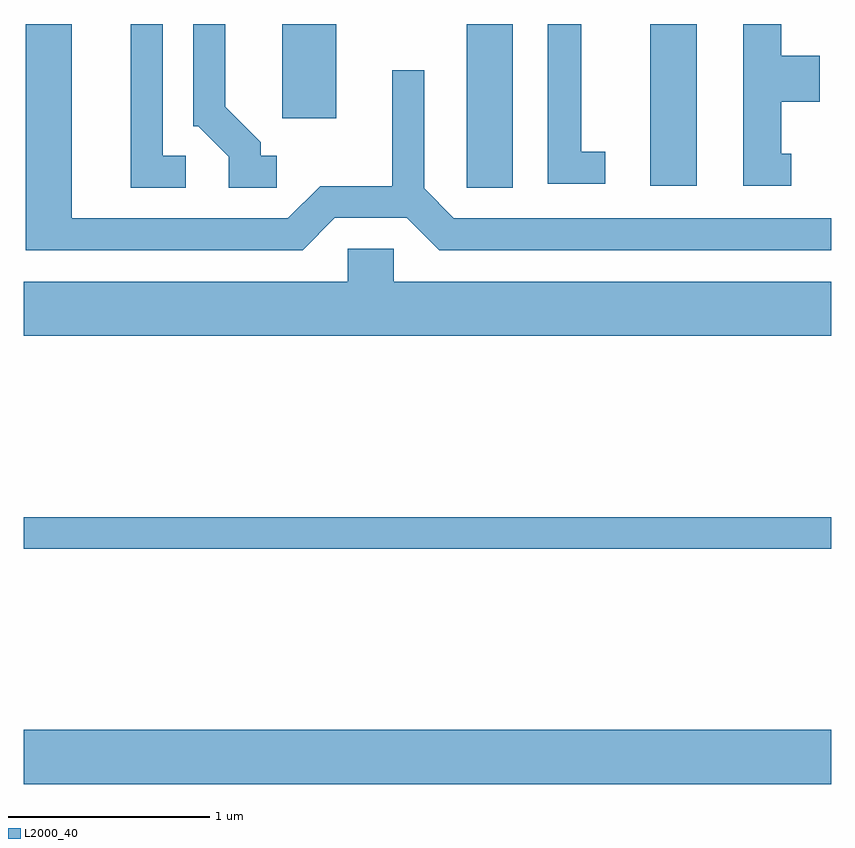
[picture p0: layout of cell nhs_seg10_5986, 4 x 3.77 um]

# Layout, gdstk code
import gdstk
lib = gdstk.Library(unit=1e-6, precision=1e-09)
def R(c, l, rs):  # rectangles x0, y0, x1, y1
    for r in rs: c.add(gdstk.rectangle(r[:2], r[2:], *l))
def P(c, l, *ps):  # polygons
    for p in ps: c.add(gdstk.Polygon(p, *l))
L2000_40 = (2000, 40)

nhs_seg10_5986 = lib.new_cell('nhs_seg10_5986')
R(nhs_seg10_5986, L2000_40, [(361.611,2162.756,365.611,2163.024), (361.611,2163.921,365.611,2164.079), (363.806,2165.711,364.034,2166.522), (364.716,2165.721,364.944,2166.522), (362.891,2166.056,363.159,2166.522)])
P(nhs_seg10_5986, L2000_40, [(362.863,2165.869),(362.784,2165.869),(362.784,2165.937),(362.609,2166.112),(362.609,2166.522),(362.451,2166.522),(362.451,2166.016),(362.474,2166.016),(362.626,2165.864),(362.626,2165.711),(362.863,2165.711)],
  [(364.493,2165.889),(364.374,2165.889),(364.374,2166.522),(364.206,2166.522),(364.206,2165.731),(364.493,2165.731)],
  [(362.413,2165.869),(362.299,2165.869),(362.299,2166.522),(362.141,2166.522),(362.141,2165.711),(362.413,2165.711)],
  [(363.152,2165.561),(363.509,2165.561),(363.669,2165.401),(365.611,2165.401),(365.611,2165.559),(363.742,2165.559),(363.594,2165.707),(363.594,2166.293),(363.436,2166.293),(363.436,2165.719),(363.079,2165.719),(362.919,2165.559),(361.849,2165.559),(361.849,2166.522),(361.621,2166.522),(361.621,2165.401),(362.992,2165.401)],
  [(365.413,2165.879),(365.364,2165.879),(365.364,2166.136),(365.554,2166.136),(365.554,2166.364),(365.364,2166.364),(365.364,2166.522),(365.176,2166.522),(365.176,2165.721),(365.413,2165.721)],
  [(365.611,2165.244),(363.444,2165.244),(363.444,2165.409),(363.216,2165.409),(363.216,2165.244),(361.611,2165.244),(361.611,2164.976),(365.611,2164.976)])

lib.write_gds('nhs_seg10_5986.gds')
